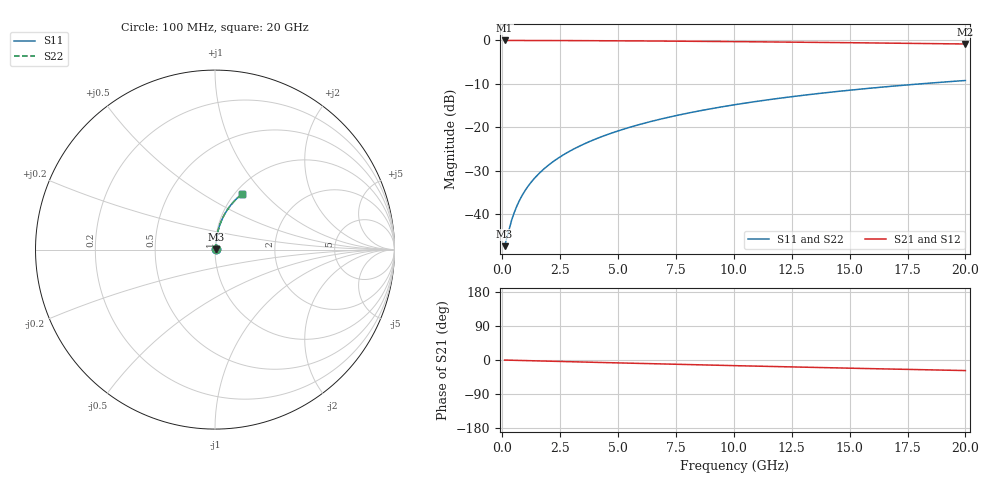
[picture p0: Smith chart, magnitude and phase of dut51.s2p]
! Touchstone file exported from HFSS 2024.1.0
!  File:  C:/UserFiles/LocalFiles/RDL_TSV_Batchsim/temp_RDL_top_51_1778681326.aedt
!  Generated:  10:11:05 PM May 13, 2026
!  Design:  RDL_top
!  Project:  temp_RDL_top_51_1778681326
!  Setup:  Setup1
!  Solution:  Sweep
! Variables:
!  dtsv = 10.80580581um
!  hbump = 3um
!  htsv = 95.76um
!  ldown = 100um
!  lrdl = 319.35um
!  p = 40
!  p1 = 46.85um
!  rhole = 1um
!  t = 450um
!  tdown = 3.915915916um
!  trdl = 2.5um
!  wdown = 15.38538539um
!  wrdl = 12.41um
# GHz S MA R 50.000000
! Terminal data exported
! Port[1] = Box2_T1
! Port[2] = Box2_T2
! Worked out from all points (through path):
!   200 points, 100 MHz to 20 GHz, reference 50 ohm
!   highest |S21| = -0.03 dB at 100 MHz (marker M1); lowest = -0.8 dB at 20 GHz (marker M2)
!   group delay of S21, straight-line fit = 3.87 ps
!   lowest |S11| = -47.4 dB at 100 MHz (marker M3), VSWR 1.01, Z = 50.4 + j0.19 ohm
!   |S11| at or under -10 dB: start of sweep to 18.12 GHz
!   |S22| runs from -47.4 to -9.3 dB; largest |S21 - S12| = 3.3e-15
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0.1  0.004264 26.2  0.9962 -0.2  0.9962 -0.2  0.004264 26.2
! Gamma 0 0 0 0
! Port Impedance 50 0 50 0
0.3  0.006823 55.3  0.9961 -0.5  0.9961 -0.5  0.006826 55.3
0.4  0.008435 62.1  0.996 -0.6  0.996 -0.6  0.008439 62.1
0.5  0.01012 66.6  0.9959 -0.8  0.9959 -0.8  0.01013 66.6
0.6  0.01185 69.7  0.9958 -0.9  0.9958 -0.9  0.01186 69.7
0.7  0.0136 72.0  0.9957 -1.1  0.9957 -1.1  0.01361 72.0
0.9  0.01713 75.1  0.9955 -1.4  0.9955 -1.4  0.01713 75.1
1.2  0.02244 77.8  0.9951 -1.9  0.9951 -1.9  0.02244 77.8
1.4  0.02598 78.9  0.9949 -2.2  0.9949 -2.2  0.02598 78.9
1.7  0.0313 80.1  0.9945 -2.6  0.9945 -2.6  0.0313 80.0
2.2  0.0402 81.2  0.9938 -3.4  0.9938 -3.4  0.0402 81.2
2.8  0.05092 81.8  0.9927 -4.3  0.9927 -4.3  0.05092 81.8
3.5  0.06349 81.9  0.9912 -5.4  0.9912 -5.4  0.06349 81.9
4.2  0.0761 81.8  0.9894 -6.4  0.9894 -6.4  0.0761 81.8
5  0.09056 81.4  0.9871 -7.6  0.9871 -7.6  0.09056 81.4
5.9  0.1069 80.7  0.984 -9.0  0.984 -9.0  0.1069 80.7
6.8  0.1232 79.9  0.9806 -10.3  0.9806 -10.3  0.1232 79.9
8.3  0.1502 78.3  0.9743 -12.5  0.9743 -12.5  0.1502 78.3
10.1  0.1824 76.3  0.9658 -15.0  0.9658 -15.0  0.1824 76.3
13.4  0.2397 72.2  0.948 -19.5  0.948 -19.5  0.2397 72.2
16.7  0.294 68.1  0.9283 -23.8  0.9283 -23.8  0.294 68.1
20  0.3447 64.0  0.9072 -27.9  0.9072 -27.9  0.3447 64.0
